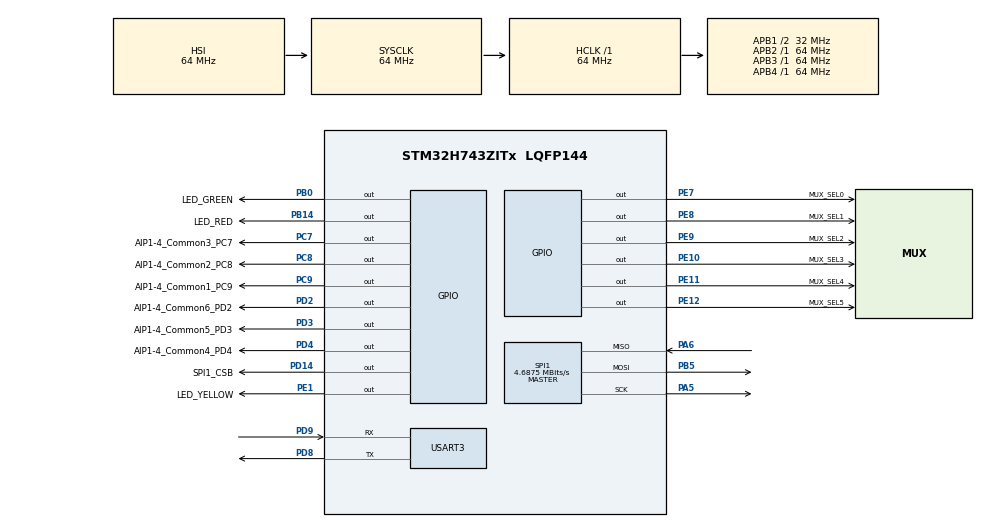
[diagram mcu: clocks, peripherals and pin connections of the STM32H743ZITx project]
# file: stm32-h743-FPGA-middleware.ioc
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CORTEX_M7.default_mode_Activation=1
Mcu.Family=STM32H7
Mcu.Name=STM32H743ZITx
Mcu.Package=LQFP144
NVIC.PriorityGroup=NVIC_PRIORITYGROUP_4
PA13\ (JTMS/SWDIO).Mode=Serial_Wire
PA13\ (JTMS/SWDIO).Signal=DEBUG_JTMS-SWDIO
PA14\ (JTCK/SWCLK).Mode=Serial_Wire
PA14\ (JTCK/SWCLK).Signal=DEBUG_JTCK-SWCLK
PA5.Mode=Full_Duplex_Master
PA5.Signal=SPI1_SCK
PA6.Mode=Full_Duplex_Master
PA6.Signal=SPI1_MISO
PB0.GPIO_Label=LED_GREEN
PB0.Signal=GPIO_Output
PD8.Mode=Asynchronous
PD8.Signal=USART3_TX
PD9.Mode=Asynchronous
PD9.Signal=USART3_RX
PB14.GPIO_Label=LED_RED
PB14.Signal=GPIO_Output
PB5.Mode=Full_Duplex_Master
PB5.Signal=SPI1_MOSI
PC7.GPIO_Label=AIP1-4_Common3_PC7
PC7.Signal=GPIO_Output
PC8.GPIO_Label=AIP1-4_Common2_PC8
PC8.Signal=GPIO_Output
PC9.GPIO_Label=AIP1-4_Common1_PC9
PC9.Signal=GPIO_Output
PD14.GPIO_Label=SPI1_CSB
PD14.Signal=GPIO_Output
PD2.GPIO_Label=AIP1-4_Common6_PD2
PD2.Signal=GPIO_Output
PD3.GPIO_Label=AIP1-4_Common5_PD3
PD3.Signal=GPIO_Output
PD4.GPIO_Label=AIP1-4_Common4_PD4
PD4.Signal=GPIO_Output
PE1.GPIO_Label=LED_YELLOW
PE1.Signal=GPIO_Output
PE10.GPIO_Label=MUX_SEL3
PE10.Signal=GPIO_Output
PE11.GPIO_Label=MUX_SEL4
PE11.Signal=GPIO_Output
PE12.GPIO_Label=MUX_SEL5
PE12.Signal=GPIO_Output
PE7.GPIO_Label=MUX_SEL0
PE7.Signal=GPIO_Output
PE8.GPIO_Label=MUX_SEL1
PE8.Signal=GPIO_Output
PE9.GPIO_Label=MUX_SEL2
PE9.Signal=GPIO_Output
PH0-OSC_IN\ (PH0).Mode=HSE-External-Oscillator
PH0-OSC_IN\ (PH0).Signal=RCC_OSC_IN
PH1-OSC_OUT\ (PH1).Mode=HSE-External-Oscillator
PH1-OSC_OUT\ (PH1).Signal=RCC_OSC_OUT
ProjectManager.HeapSize=0x200
ProjectManager.StackSize=0x400
ProjectManager.TargetToolchain=Makefile
RCC.ADCFreq_Value=129000000
RCC.APB1Freq_Value=32000000
RCC.APB2Freq_Value=64000000
RCC.APB3Freq_Value=64000000
RCC.APB4Freq_Value=64000000
RCC.CortexFreq_Value=64000000
RCC.D2PPRE1=RCC_APB1_DIV2
RCC.DIVM1=4
RCC.DIVN1=9
RCC.HCLKFreq_Value=64000000
RCC.PLLFRACN=3072
RCC.SYSCLKFreq_VALUE=64000000
RCC.USBFreq_Value=75000000
SPI1.BaudRatePrescaler=SPI_BAUDRATEPRESCALER_16
SPI1.CalculateBaudRate=4.6875 MBits/s
SPI1.DataSize=SPI_DATASIZE_8BIT
SPI1.Direction=SPI_DIRECTION_2LINES
SPI1.Mode=SPI_MODE_MASTER
SPI1.VirtualType=VM_MASTER
USART3.VirtualMode-Asynchronous=VM_ASYNC
VP_MEMORYMAP_VS_MEMORYMAP.Mode=CurAppReg
board=custom

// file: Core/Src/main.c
/* USER CODE BEGIN Header */
/**
 ******************************************************************************
 * @file           : main.c
 * @brief          : Main program body
 ******************************************************************************
 * @attention
 *
 * Copyright (c) 2026 STMicroelectronics.
 * All rights reserved.
 *
 * This software is licensed under terms that can be found in the LICENSE file
 * in the root directory of this software component.
 * If no LICENSE file comes with this software, it is provided AS-IS.
 *
 ******************************************************************************
 */
/* USER CODE END Header */
#include "main.h"

#include <stdio.h>

#include "gpio.h"
#include "spi.h"
#include "usart.h"

/* USER CODE BEGIN Includes */
#include "tasa_board_hal.h"
#include "tasa_fpga_ctrl.h"
/* USER CODE END Includes */

/* USER CODE BEGIN PV */
static tasa_fpga_dev_t fpga_link = {
    .gpio_set_mux = board_gpio_set_mux,
    .spi_xfer = board_spi_xfer,
    .ctx = &hspi1,
};
/* USER CODE END PV */

void SystemClock_Config(void);
static void MPU_Config(void);

/* USER CODE BEGIN 0 */

int __io_putchar(int ch) {
    uint8_t c = (uint8_t)ch;
    HAL_UART_Transmit(&huart3, &c, 1, HAL_MAX_DELAY);
    return ch;
}

/*
 * Cool LED effect: software-PWM "flowing rainbow wave".
 *
 * No hardware timer/PWM channel is wired to the on-board LEDs, so brightness is
 * faked with a software PWM: within each ~1 ms PWM window every LED is turned on
 * for a fraction of the window proportional to its target brightness (0..255).
 *
 * Each LED rides a sine-shaped breathing curve, but the three curves are phase
 * shifted 120 deg apart, so the light appears to "flow" across GREEN -> YELLOW
 * -> RED and back. All timing is derived from HAL_GetTick(), so the loop never
 * blocks.
 */

/* 256-entry quarter-symmetric sine LUT, scaled 0..255 (breathing brightness). */
static const uint8_t kSineLut[256] = {
    128, 131, 134, 137, 140, 143, 146, 149, 152, 156, 159, 162, 165, 168, 171, 174, 176, 179, 182, 185, 188, 191,
    193, 196, 199, 201, 204, 206, 209, 211, 213, 216, 218, 220, 222, 224, 226, 228, 230, 232, 234, 236, 237, 239,
    240, 242, 243, 245, 246, 247, 248, 249, 250, 251, 252, 252, 253, 254, 254, 255, 255, 255, 255, 255, 255, 255,
    255, 255, 255, 255, 254, 254, 253, 252, 252, 251, 250, 249, 248, 247, 246, 245, 243, 242, 240, 239, 237, 236,
    234, 232, 230, 228, 226, 224, 222, 220, 218, 216, 213, 211, 209, 206, 204, 201, 199, 196, 193, 191, 188, 185,
    182, 179, 176, 174, 171, 168, 165, 162, 159, 156, 152, 149, 146, 143, 140, 137, 134, 131, 128, 124, 121, 118,
    115, 112, 109, 106, 103, 99,  96,  93,  90,  87,  84,  81,  79,  76,  73,  70,  67,  64,  62,  59,  56,  54,
    51,  49,  46,  44,  42,  39,  37,  35,  33,  31,  29,  27,  25,  23,  21,  19,  18,  16,  15,  13,  12,  10,
    9,   8,   7,   6,   5,   4,   3,   3,   2,   1,   1,   0,   0,   0,   0,   0,   0,   0,   0,   0,   0,   0,
    1,   1,   2,   3,   3,   4,   5,   6,   7,   8,   9,   10,  12,  13,  15,  16,  18,  19,  21,  23,  25,  27,
    29,  31,  33,  35,  37,  39,  42,  44,  46,  49,  51,  54,  56,  59,  62,  64,  67,  70,  73,  76,  79,  81,
    84,  87,  90,  93,  96,  99,  103, 106, 109, 112, 115, 118, 121, 124};

/* One software-PWM window in HAL ticks (1 tick = 1 ms). */
#define PWM_WINDOW_MS 8u
/* How fast the wave advances one LUT step (smaller = faster breathing). */
#define WAVE_STEP_MS 6u
/* 120 deg phase offset between the three LEDs (256 entries / 3). */
#define PHASE_OFFSET 85u

typedef struct {
    GPIO_TypeDef* port;
    uint16_t pin;
    uint8_t phase; /* starting offset into the sine LUT */
} led_channel_t;

static const led_channel_t kLeds[] = {
    {LED_GREEN_GPIO_Port, LED_GREEN_Pin, 0u * PHASE_OFFSET},
    {LED_YELLOW_GPIO_Port, LED_YELLOW_Pin, 1u * PHASE_OFFSET},
    {LED_RED_GPIO_Port, LED_RED_Pin, 2u * PHASE_OFFSET},
};
#define LED_COUNT (sizeof(kLeds) / sizeof(kLeds[0]))

/*
 * Render one software-PWM window for all LEDs, using each LED's current
 * brightness. Blocks for exactly PWM_WINDOW_MS to keep the duty cycle honest.
 */
static void LED_RenderWindow(const uint8_t brightness[LED_COUNT]) {
    uint32_t window_start = HAL_GetTick();
    uint32_t elapsed;

    do {
        elapsed = HAL_GetTick() - window_start;
        /* Position inside the window scaled to 0..255. */
        uint8_t slot = (uint8_t)((elapsed * 255u) / PWM_WINDOW_MS);

        for (uint32_t i = 0; i < LED_COUNT; i++) {
            GPIO_PinState state = (slot < brightness[i]) ? GPIO_PIN_SET : GPIO_PIN_RESET;
            HAL_GPIO_WritePin(kLeds[i].port, kLeds[i].pin, state);
        }
    } while (elapsed < PWM_WINDOW_MS);
}

/*
 * Advance the breathing wave and drive one PWM window. Call repeatedly from the
 * main loop; it is self-timed and never spins idle for long.
 */
static void LED_WaveTick(void) {
    static uint32_t last_step = 0;
    static uint8_t wave_pos = 0;
    uint8_t brightness[LED_COUNT];

    if ((HAL_GetTick() - last_step) >= WAVE_STEP_MS) {
        last_step = HAL_GetTick();
        wave_pos++; /* wraps naturally at 256 */
    }

    for (uint32_t i = 0; i < LED_COUNT; i++) {
        brightness[i] = kSineLut[(uint8_t)(wave_pos + kLeds[i].phase)];
    }

    LED_RenderWindow(brightness);
}

/* USER CODE END 0 */

int main(void) {

    /* MPU Configuration--------------------------------------------------------*/
    MPU_Config();

    /* MCU Configuration--------------------------------------------------------*/

    /* Reset of all peripherals, Initializes the Flash interface and the Systick. */
    HAL_Init();

    /* Configure the system clock */
    SystemClock_Config();

    /* Initialize all configured peripherals */
    MX_GPIO_Init();
    MX_SPI1_Init();
    MX_USART3_UART_Init();
    /* USER CODE BEGIN 2 */
    uint8_t fpga_ver[TASA_FPGA_CTRL_VERSION_LEN] = {0};
    if (tasa_fpga_ctrl_read_version(&fpga_link, fpga_ver) != TASA_OK) {
        Error_Handler();
    }
    printf("FPGA version: %u.%u.%u.%u\r\n", fpga_ver[0], fpga_ver[1], fpga_ver[2], fpga_ver[3]);
    /* USER CODE END 2 */

    /* Infinite loop */
    while (1) {

        /* USER CODE BEGIN 3 */
        LED_WaveTick();
    }
    /* USER CODE END 3 */
}

void SystemClock_Config(void) {
    RCC_OscInitTypeDef RCC_OscInitStruct = {0};
    RCC_ClkInitTypeDef RCC_ClkInitStruct = {0};

    /** Supply configuration update enable
     */
    HAL_PWREx_ConfigSupply(PWR_LDO_SUPPLY);

    /** Configure the main internal regulator output voltage
     */
    __HAL_PWR_VOLTAGESCALING_CONFIG(PWR_REGULATOR_VOLTAGE_SCALE3);

    while (!__HAL_PWR_GET_FLAG(PWR_FLAG_VOSRDY)) {
    }

    /** Initializes the RCC Oscillators according to the specified parameters
     * in the RCC_OscInitTypeDef structure.
     */
    RCC_OscInitStruct.OscillatorType = RCC_OSCILLATORTYPE_HSI;
    RCC_OscInitStruct.HSIState = RCC_HSI_DIV1;
    RCC_OscInitStruct.HSICalibrationValue = RCC_HSICALIBRATION_DEFAULT;
    RCC_OscInitStruct.PLL.PLLState = RCC_PLL_ON;
    RCC_OscInitStruct.PLL.PLLSource = RCC_PLLSOURCE_HSI;
    RCC_OscInitStruct.PLL.PLLM = 4;
    RCC_OscInitStruct.PLL.PLLN = 9;
    RCC_OscInitStruct.PLL.PLLP = 2;
    RCC_OscInitStruct.PLL.PLLQ = 2;
    RCC_OscInitStruct.PLL.PLLR = 2;
    RCC_OscInitStruct.PLL.PLLRGE = RCC_PLL1VCIRANGE_3;
    RCC_OscInitStruct.PLL.PLLVCOSEL = RCC_PLL1VCOMEDIUM;
    RCC_OscInitStruct.PLL.PLLFRACN = 3072;
    if (HAL_RCC_OscConfig(&RCC_OscInitStruct) != HAL_OK) {
        Error_Handler();
    }

    /** Initializes the CPU, AHB and APB buses clocks
     */
    RCC_ClkInitStruct.ClockType = RCC_CLOCKTYPE_HCLK | RCC_CLOCKTYPE_SYSCLK | RCC_CLOCKTYPE_PCLK1 |
                                  RCC_CLOCKTYPE_PCLK2 | RCC_CLOCKTYPE_D3PCLK1 | RCC_CLOCKTYPE_D1PCLK1;
    RCC_ClkInitStruct.SYSCLKSource = RCC_SYSCLKSOURCE_HSI;
    RCC_ClkInitStruct.SYSCLKDivider = RCC_SYSCLK_DIV1;
    RCC_ClkInitStruct.AHBCLKDivider = RCC_HCLK_DIV1;
    RCC_ClkInitStruct.APB3CLKDivider = RCC_APB3_DIV1;
    RCC_ClkInitStruct.APB1CLKDivider = RCC_APB1_DIV2;
    RCC_ClkInitStruct.APB2CLKDivider = RCC_APB2_DIV1;
    RCC_ClkInitStruct.APB4CLKDivider = RCC_APB4_DIV1;

    if (HAL_RCC_ClockConfig(&RCC_ClkInitStruct, FLASH_LATENCY_1) != HAL_OK) {
        Error_Handler();
    }
}

/* MPU Configuration */

void MPU_Config(void) {
    MPU_Region_InitTypeDef MPU_InitStruct = {0};

    /* Disables the MPU */
    HAL_MPU_Disable();

    /** Initializes and configures the Region and the memory to be protected
     */
    MPU_InitStruct.Enable = MPU_REGION_ENABLE;
    MPU_InitStruct.Number = MPU_REGION_NUMBER0;
    MPU_InitStruct.BaseAddress = 0x0;
    MPU_InitStruct.Size = MPU_REGION_SIZE_4GB;
    MPU_InitStruct.SubRegionDisable = 0x87;
    MPU_InitStruct.TypeExtField = MPU_TEX_LEVEL0;
    MPU_InitStruct.AccessPermission = MPU_REGION_NO_ACCESS;
    MPU_InitStruct.DisableExec = MPU_INSTRUCTION_ACCESS_DISABLE;
    MPU_InitStruct.IsShareable = MPU_ACCESS_SHAREABLE;
    MPU_InitStruct.IsCacheable = MPU_ACCESS_NOT_CACHEABLE;
    MPU_InitStruct.IsBufferable = MPU_ACCESS_NOT_BUFFERABLE;

    HAL_MPU_ConfigRegion(&MPU_InitStruct);
    /* Enables the MPU */
    HAL_MPU_Enable(MPU_PRIVILEGED_DEFAULT);
}

void Error_Handler(void) {
    __disable_irq();
    while (1) {
    }
}
